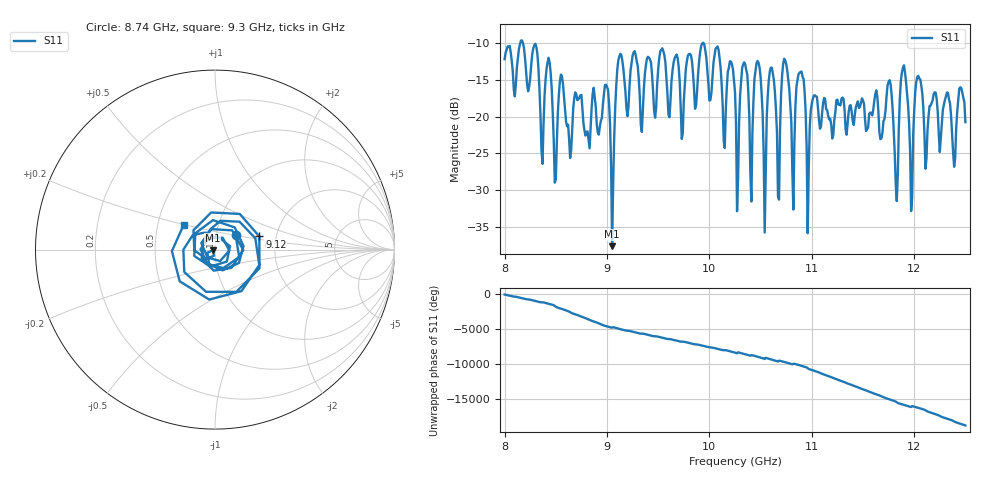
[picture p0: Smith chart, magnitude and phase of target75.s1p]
#  HZ  S  RI  R  50.00
! Rohde & Schwarz Vector Network Analyzer
! Rohde-Schwarz,ZNA43-4Port,1332450044101932,2.92
! Created: UTC 6/9/2026, 6:46:01 AM
! freq[Hz]  re:S11  im:S11
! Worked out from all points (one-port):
!   451 points, 8 GHz to 12.5 GHz, reference 50 ohm
!   lowest |S11| = -37.6 dB at 9.05 GHz (marker M1), VSWR 1.03, Z = 48.8 - j0.45 ohm
!   |S11| at or under -10 dB: start of sweep to 8.152 GHz; 8.18 GHz to 9.931 GHz (1.751 GHz wide, 19.3 % of centre); 9.944 GHz to end of sweep
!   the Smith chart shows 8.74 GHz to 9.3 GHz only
!   S11 on the Smith chart (normalised r, x): 8.74 GHz: 1.24, +0.20; 9.12 GHz: 1.63, +0.26; 9.3 GHz: 0.68, +0.20
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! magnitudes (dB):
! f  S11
! 8 GHz  -12.1
! 8.3 GHz  -10.1
! 8.37 GHz  -26.4
! 8.43 GHz  -12.0
! 8.49 GHz  -29.0
! 8.57 GHz  -15.5
! 8.74 GHz  -17.1
! 9 GHz  -15.9
! 9.05 GHz  -37.6
! 9.12 GHz  -11.8
! 9.13 GHz  -11.4
! 9.3 GHz  -13.1
! 9.69 GHz  -12.0
! 10.25 GHz  -16.6
! 10.35 GHz  -12.9
! 10.41 GHz  -31.5
! 10.48 GHz  -12.6
! 10.54 GHz  -35.8
! 10.61 GHz  -13.3
! 10.67 GHz  -30.8
! 10.74 GHz  -12.3
! 10.82 GHz  -32.6
! 10.88 GHz  -14.0
! 10.96 GHz  -35.9
! 11.38 GHz  -18.4
! 11.82 GHz  -29.3
! 11.94 GHz  -18.4
! 12.5 GHz  -20.7
